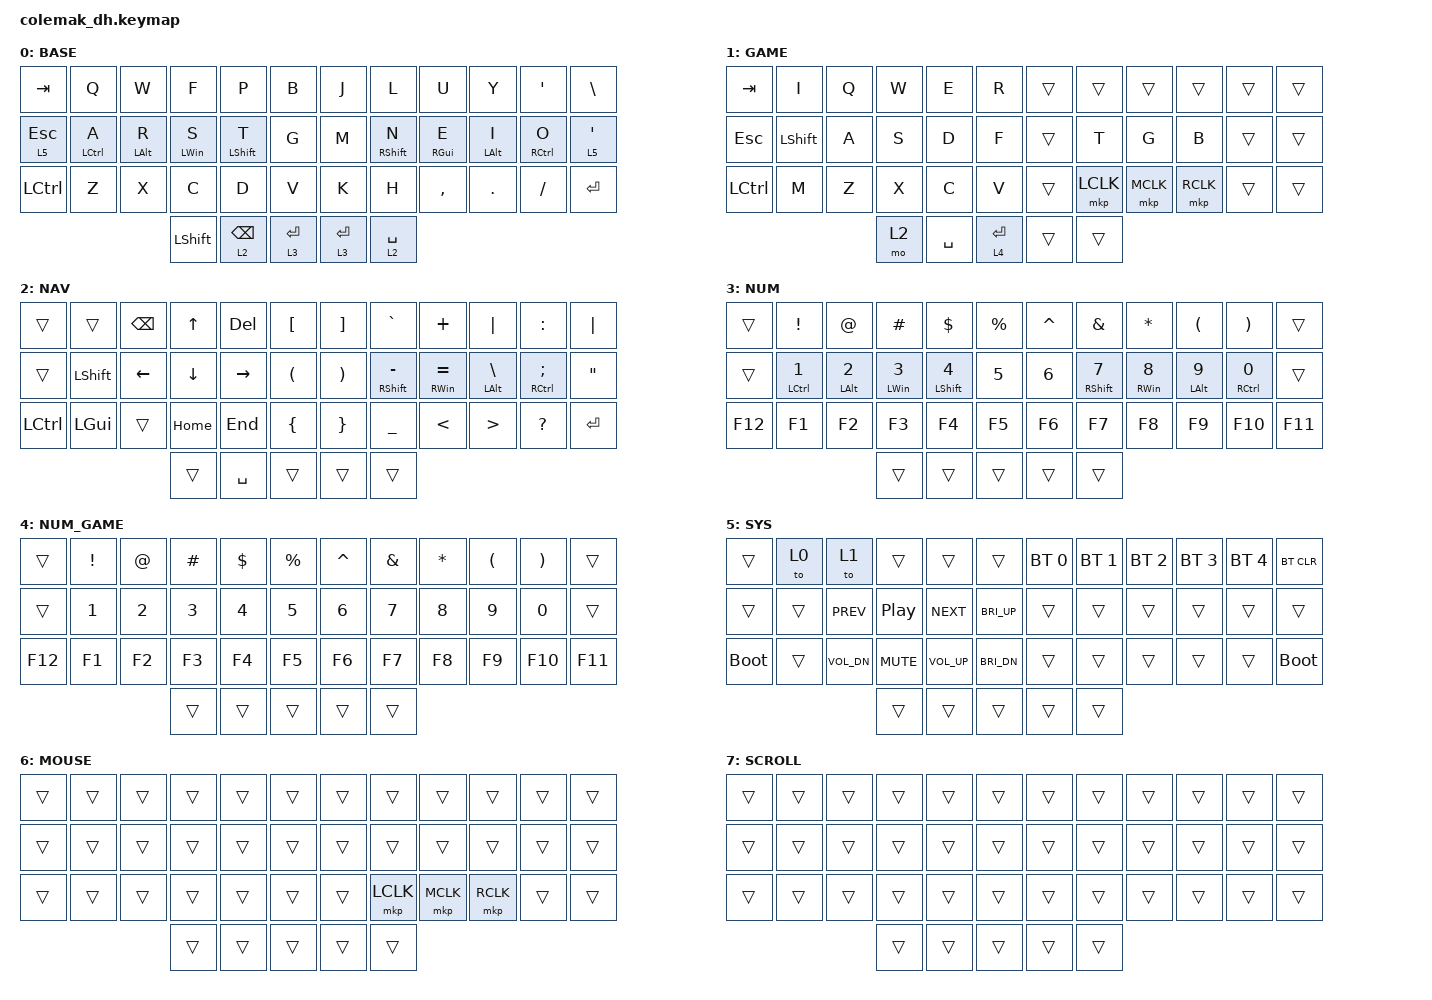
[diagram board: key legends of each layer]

#include <dt-bindings/zmk/mouse.h>
#include <behaviors/mouse_keys.dtsi>
#include <zephyr/dt-bindings/input/input-event-codes.h>
#include <behaviors.dtsi>
#include <dt-bindings/zmk/bt.h>
#include <dt-bindings/zmk/keys.h>
#include <dt-bindings/zmk/pointing.h>

#define KEYS_L 0 1 2 3 4 5 12 13 14 15 16 17 24 25 26 27 28 29 36 37 38 19 20 21 22
#define KEYS_R 6 7 8 9 10 11 18 19 20 21 22 23 30 31 32 33 34 35 39 40 16 15 14 13
#define THUMBS 36 37 38 39 40
#define QUICK_TAP_MS 175

/* 
* behavior overlays 
*/
/* layer tap */

&lt {
    flavor = "balanced";
    tapping-term-ms = <200>;
    quick-tap-ms = <QUICK_TAP_MS>;
};

/* mod tap */

&mt {
    flavor = "balanced";
    tapping-term-ms = <200>;
    quick-tap-ms = <QUICK_TAP_MS>;
};

/ {
    /*
 * 42 KEY MATRIX / LAYOUT MAPPING
 * ╭────────────────────────┬────────────────────────╮ ╭─────────────────────────┬─────────────────────────╮
 * │  0   1   2   3   4   5 │  6   7   8   9  10  11 │ │ LT5 LT4 LT3 LT2 LT1 LT0 │ RT0 RT1 RT2 RT3 RT4 RT5 │
 * │ 12  13  14  15  16  17 │ 18  19  20  21  22  23 │ │ LM5 LM4 LM3 LM2 LM1 LM0 │ RM0 RM1 RM2 RM3 RM4 RM5 │
 * │ 24  25  26  27  28  29 │ 30  31  32  33  34  35 │ │ LB5 LB4 LB3 LB2 LB1 LB0 │ RB0 RB1 RB2 RB3 RB4 RB5 │
 * ╰───────────╮ 36  37  38 │ 39  40  41 ╭───────────╯ ╰───────────╮ LH2 LH1 LH0 │ RH0 RH1 RH2 ╭───────────╯
 *             ╰────────────┴────────────╯                         ╰─────────────┴─────────────╯             
 */

    behaviors {
        compatible = "zmk,behaviors";

        hrm_tap: homerow_mod_tap {
            compatible = "zmk,behavior-hold-tap";
            #binding-cells = <2>;
            flavor = "tap-preferred";
            tapping-term-ms = <300>;
            quick-tap-ms = <150>;
            require-prior-idle-ms = <150>;
            bindings = <&kp>, <&kp>;

            label = "homerow_mod_tap";
            hold-trigger-on-release;
        };

        lt_ph: lt_prefer_hold {
            compatible = "zmk,behavior-hold-tap";
            label = "LT_PREFER_HOLD";
            bindings = <&mo>, <&kp>;

            #binding-cells = <2>;
            tapping-term-ms = <175>;
        };

        hrmr_balanced: homerow_right_balanced {
            compatible = "zmk,behavior-hold-tap";
            #binding-cells = <2>;
            flavor = "balanced";
            tapping-term-ms = <270>;
            quick-tap-ms = <150>;
            require-prior-idle-ms = <150>;
            bindings = <&kp>, <&kp>;

            hold-trigger-key-positions = <38 37 36 12 0 13 14 15 25 26 27 29 2 3 16 39 40>;
            label = "Homerow Right - Balanced";
            hold-trigger-on-release;
        };

        hmrl_balanced: homerow_left_balanced {
            compatible = "zmk,behavior-hold-tap";
            #binding-cells = <2>;
            flavor = "balanced";
            tapping-term-ms = <270>;
            quick-tap-ms = <150>;
            require-prior-idle-ms = <150>;
            bindings = <&kp>, <&kp>;

            hold-trigger-key-positions = <36 37 38 39 40 19 20 9>;
            label = "Homerow Left - Balanced";
            hold-trigger-on-release;
        };

        mt_ph: mt_prefer_hold {
            compatible = "zmk,behavior-hold-tap";
            label = "mt_prefer_hold";
            bindings = <&kp>, <&kp>;

            #binding-cells = <2>;
            tapping-term-ms = <175>;
        };
    };

    combos {
        compatible = "zmk,combos";

        left_click_r {
            bindings = <&mkp LCLK>;
            key-positions = <31 32>;
            require-prior-idle-ms = <100>;
        };

        right_click_r {
            bindings = <&mkp RCLK>;
            key-positions = <32 33>;
            require-prior-idle-ms = <100>;
        };

        scroll_r {
            bindings = <&mo 7>;
            key-positions = <31 32 33>;
        };

        mo_num {
            bindings = <&mo 3>;
            key-positions = <37 40>;
        };

        game_t {
            bindings = <&kp T>;
            key-positions = <25 26>;
            layers = <1>;
        };

        game_g {
            bindings = <&kp G>;
            key-positions = <26 27>;
            layers = <1>;
        };

        game_b {
            bindings = <&kp B>;
            key-positions = <27 28>;
            layers = <1>;
        };
    };

    keymap {
        compatible = "zmk,keymap";

        BASE {
            bindings = <
&kp TAB           &kp Q                   &kp W                      &kp F                      &kp P                        &kp B             &kp J           &kp L                         &kp U                       &kp Y                      &kp SQT                 &kp BACKSLASH
&lt 5 ESC         &hmrl_balanced LCTRL A  &hmrl_balanced LEFT_ALT R  &hmrl_balanced LEFT_WIN S  &hmrl_balanced LEFT_SHIFT T  &kp G             &kp M           &hrmr_balanced RIGHT_SHIFT N  &hrmr_balanced RIGHT_GUI E  &hrmr_balanced LEFT_ALT I  &hrmr_balanced RCTRL O  &lt 5 SQT
&kp LEFT_CONTROL  &kp Z                   &kp X                      &kp C                      &kp D                        &kp V             &kp K           &kp H                         &kp COMMA                   &kp PERIOD                 &kp SLASH               &kp ENTER
                                                                     &kp LEFT_SHIFT             &lt 2 BACKSPACE              &lt_ph 3 ENTER    &lt_ph 3 ENTER  &lt 2 SPACE
            >;
        };

        GAME {
            bindings = <
&kp TAB    &kp I           &kp Q  &kp W  &kp E         &kp R             &trans  &trans     &trans     &trans     &trans  &trans
&kp ESC    &kp LEFT_SHIFT  &kp A  &kp S  &kp D         &kp F             &trans  &kp T      &kp G      &kp B      &trans  &trans
&kp LCTRL  &kp M           &kp Z  &kp X  &kp C         &kp V             &trans  &mkp LCLK  &mkp MCLK  &mkp RCLK  &trans  &trans
                                  &mo 2         &kp SPACE  &lt_ph 4 ENTER    &trans  &trans
            >;
        };

        NAV {
            bindings = <
&trans     &trans     &kp BSPC  &kp UP_ARROW  &kp DEL    &kp LBKT                &kp RBKT               &kp GRAVE                   &kp PLUS                  &kp PIPE                &kp COLON            &kp PIPE
&trans     &kp LSHFT  &kp LEFT  &kp DOWN      &kp RIGHT  &kp LEFT_PARENTHESIS    &kp RIGHT_PARENTHESIS  &hrm_tap RIGHT_SHIFT MINUS  &hrm_tap RIGHT_WIN EQUAL  &hrm_tap LEFT_ALT BSLH  &hrm_tap RCTRL SEMI  &kp DOUBLE_QUOTES
&kp LCTRL  &kp LGUI   &trans    &kp HOME      &kp END    &kp LEFT_BRACE          &kp RIGHT_BRACE        &kp UNDERSCORE              &kp LESS_THAN             &kp GREATER_THAN        &kp QUESTION         &kp RET
                                &trans        &kp SPACE  &trans                  &trans                 &trans
            >;
        };

        NUM {
            bindings = <
&trans   &kp EXCLAMATION    &kp AT_SIGN           &kp HASH              &kp DOLLAR              &kp PERCENT    &kp CARET  &kp AMPERSAND            &kp ASTERISK           &kp LEFT_PARENTHESIS  &kp RIGHT_PARENTHESIS  &trans
&trans   &hrm_tap LCTRL N1  &hrm_tap LEFT_ALT N2  &hrm_tap LEFT_WIN N3  &hrm_tap LEFT_SHIFT N4  &kp N5         &kp N6     &hrm_tap RIGHT_SHIFT N7  &hrm_tap RIGHT_WIN N8  &hrm_tap LEFT_ALT N9  &hrm_tap RCTRL N0      &trans
&kp F12  &kp F1             &kp F2                &kp F3                &kp F4                  &kp F5         &kp F6     &kp F7                   &kp F8                 &kp F9                &kp F10                &kp F11
                                                  &trans                &trans                  &trans         &trans     &trans
            >;
        };

        NUM_GAME {
            bindings = <
&trans   &kp EXCLAMATION  &kp AT_SIGN   &kp HASH      &kp DOLLAR    &kp PERCENT    &kp CARET  &kp AMPERSAND  &kp ASTERISK  &kp LEFT_PARENTHESIS  &kp RIGHT_PARENTHESIS  &trans
&trans   &kp NUMBER_1     &kp NUMBER_2  &kp NUMBER_3  &kp NUMBER_4  &kp N5         &kp N6     &kp N7         &kp N8        &kp N9                &kp N0                 &trans
&kp F12  &kp F1           &kp F2        &kp F3        &kp F4        &kp F5         &kp F6     &kp F7         &kp F8        &kp F9                &kp F10                &kp F11
                                        &trans        &trans        &trans         &trans     &trans
            >;
        };

        SYS {
            bindings = <
&trans       &to 0   &to 1         &trans      &trans        &trans          &bt BT_SEL 0  &bt BT_SEL 1  &bt BT_SEL 2  &bt BT_SEL 3  &bt BT_SEL 4  &bt BT_CLR
&trans       &trans  &kp C_PREV    &kp C_PP    &kp C_NEXT    &kp C_BRI_UP    &trans        &trans        &trans        &trans        &trans        &trans
&bootloader  &trans  &kp C_VOL_DN  &kp C_MUTE  &kp C_VOL_UP  &kp C_BRI_DN    &trans        &trans        &trans        &trans        &trans        &bootloader
                                   &trans      &trans        &trans          &trans        &trans
            >;
        };

        MOUSE {
            bindings = <
&trans  &trans  &trans  &trans  &trans  &trans    &trans  &trans     &trans     &trans     &trans  &trans
&trans  &trans  &trans  &trans  &trans  &trans    &trans  &trans     &trans     &trans     &trans  &trans
&trans  &trans  &trans  &trans  &trans  &trans    &trans    &mkp LCLK  &mkp MCLK  &mkp RCLK  &trans    &trans
                        &trans  &trans  &trans    &trans  &trans
            >;
        };

        SCROLL {
            bindings = <
&trans  &trans  &trans  &trans  &trans  &trans    &trans  &trans  &trans  &trans  &trans  &trans
&trans  &trans  &trans  &trans  &trans  &trans    &trans  &trans  &trans  &trans  &trans  &trans
&trans  &trans  &trans  &trans  &trans  &trans    &trans  &trans  &trans  &trans  &trans  &trans
                        &trans  &trans  &trans    &trans  &trans
            >;
        };

    };
};
